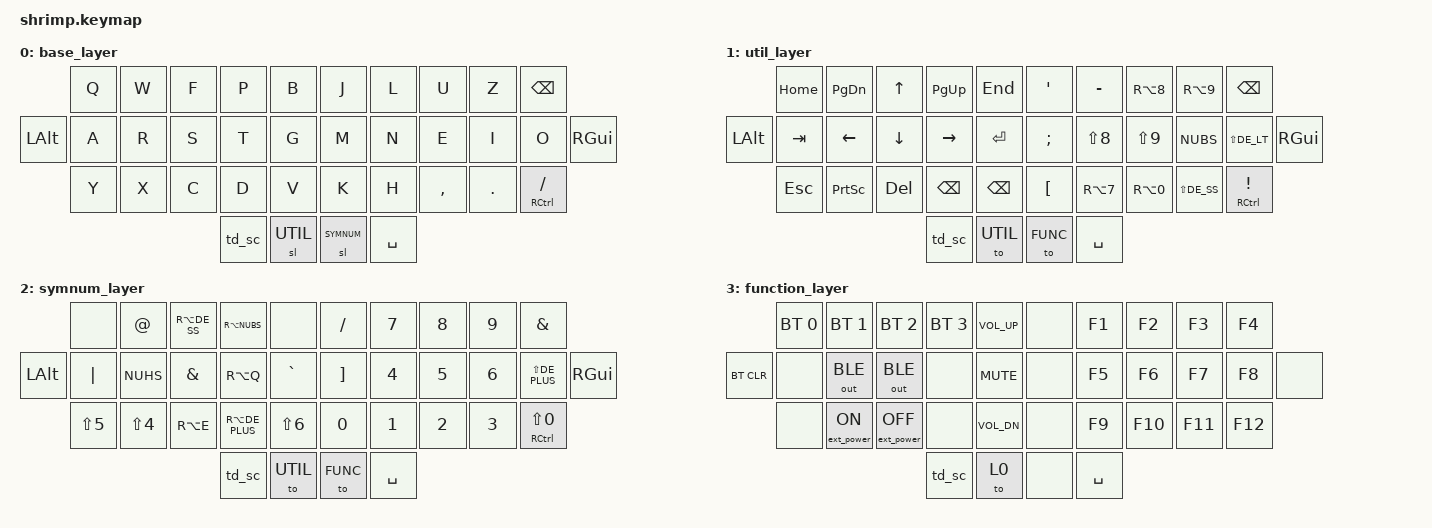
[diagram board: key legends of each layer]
/*
 * Copyright (c) 2021 The ZMK Contributors
 *
 * SPDX-License-Identifier: MIT
 */

#include <behaviors.dtsi>
#include <dt-bindings/zmk/keys.h>
#include <dt-bindings/zmk/outputs.h>
#include <dt-bindings/zmk/bt.h>
#include <dt-bindings/zmk/ext_power.h>

#define DEFAULT 0
#define UTIL   1
#define SYMNUM   2
#define FUNC   3

#define DE_PLUS RBKT // +
#define DE_ASTR LS(DE_PLUS) // *
#define DE_HASH NUHS // #

#define DE_ODIA SEMI // ö
#define DE_ADIA APOS // ä
#define DE_UDIA LBKT // ü
#define DE_SS MINUS // ß

#define DE_MINUS FSLH // - and _


#define DE_FSLH AMPS // /

#define DE_DQT AT // "
#define DE_SQT PIPE // '

#define DE_Y Z // y
#define DE_Z Y // z

#define DE_QMARK LS(DE_SS) // ?
#define DE_BSLH RA(DE_SS) // backslash
#define DE_LPAR LS(NUMBER_8) 
#define DE_RPAR LS(NUMBER_9) 

#define DE_LBRC RA(NUMBER_7) 
#define DE_RBRC RA(NUMBER_0) 
#define DE_LBKT RA(NUMBER_8)  
#define DE_RBKT RA(NUMBER_9) 

#define DE_CARET GRAVE // ^
#define DE_LT NUBS
#define DE_GP LS(DE_LT)

#define DE_AT RA(Q) // 
#define DE_PIPE RA(NUBS) // |
#define DE_TILDE RA(DE_PLUS) // ~

#define DE_EURO RA(E) 
#define DE_EQUAL LS(NUMBER_0) 
#define DE_DLLR LS(NUMBER_4) 
#define DE_PRCNT LS(NUMBER_5) 
#define DE_AMPS LS(NUMBER_6) 


&sk {
    release-after-ms = <1500>;
	quick-release;
    ignore-modifiers;
};

&sl {
    release-after-ms = <1500>;
};

&mt {
    tapping-term-ms = <300>;
};





/ {
	behaviors {
		td_sc: tap_dance_shift_control {
			compatible = "zmk,behavior-tap-dance";
			label = "TAP_DANCE_SHIFT_CTRL";
			#binding-cells = <0>;
			tapping-term-ms = <400>;
			bindings = <&sk LSHFT>, <&kp LCTRL>;
		};
	};

	keymap {
		compatible = "zmk,keymap";

		base_layer {
			bindings = <
				    &kp Q          &kp W          &kp F          &kp P        &kp B              &kp J     &kp L     &kp U              &kp DE_Y          &kp BSPC
	    &kp LALT 	&kp A          &kp R          &kp S          &kp T        &kp G              &kp M     &kp N     &kp E              &kp I             &kp O          &kp RGUI 
				    &kp DE_Z       &kp X          &kp C          &kp D        &kp V              &kp K     &kp H     &kp COMMA          &kp DOT           &mt RCTRL DE_MINUS
				                                               &td_sc &sl UTIL                   &sl SYMNUM &kp SPACE 
			>;
		};

        util_layer {
			bindings = <
				    &kp HOME        &kp PG_DN &kp UP     &kp PG_UP &kp END           &kp DE_ADIA    &kp DE_SS     &kp DE_LBKT    	     &kp DE_RBKT   		  &kp BSPC
	   &kp LALT 	&kp TAB         &kp LEFT  &kp DOWN   &kp RIGHT &kp ENTER         &kp DE_ODIA    &kp DE_LPAR   &kp DE_RPAR    	     &kp DE_LT            &kp LS(DE_LT)   &kp RGUI 
				    &kp ESC         &kp PSCRN &kp DEL    &kp BSPC  &kp BSPC          &kp DE_UDIA    &kp DE_LBRC   &kp DE_RBRC          &kp DE_QMARK         &mt RCTRL EXCL
				                                          &td_sc  &to UTIL          &to FUNC &kp SPACE 
			>;
		};

        symnum_layer {
			bindings = <
				    &none               &kp DE_DQT        &kp DE_BSLH        &kp DE_PIPE       &none         		      &kp DE_MINUS	&kp N7     &kp N8     &kp N9     &kp DE_FSLH
		&kp LALT 	&kp DE_SQT          &kp DE_HASH       &kp DE_FSLH        &kp DE_AT         &kp DE_CARET       	      &kp DE_PLUS   &kp N4     &kp N5     &kp N6     &kp DE_ASTR        &kp RGUI
				    &kp DE_PRCNT        &kp DE_DLLR       &kp DE_EURO        &kp DE_TILDE      &kp DE_AMPS    		      &kp N0    	&kp N1     &kp N2 	  &kp N3     &mt RCTRL DE_EQUAL
				                                                                    &td_sc  &to UTIL       				&to FUNC &kp SPACE 
			>;
		};

		function_layer {
			bindings = <
				        &bt BT_SEL 0   &bt BT_SEL 1      &bt BT_SEL 2       &bt BT_SEL 3     &kp K_VOL_UP            &none    &kp F1     &kp F2     &kp F3     &kp F4
			&bt BT_CLR 	&none          &out OUT_BLE      &out OUT_BLE       &none     		 &kp K_MUTE              &none    &kp F5     &kp F6     &kp F7     &kp F8   &none
				        &none          &ext_power EP_ON  &ext_power EP_OFF  &none    		 &kp K_VOL_DN            &none    &kp F9     &kp F10    &kp F11    &kp F12
				                                                                       &td_sc  &to 0                &none &kp SPACE 
			>;
		};

	};
};


